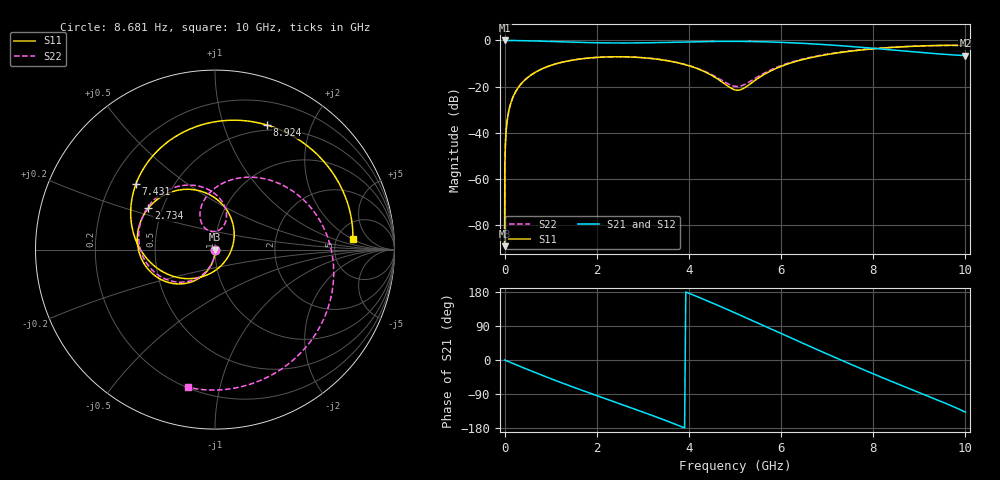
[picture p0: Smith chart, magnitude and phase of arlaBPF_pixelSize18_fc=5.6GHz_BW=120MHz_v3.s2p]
! Created Wed Aug 10 22:56:32 2022
! List of port names and net name(s): example Port n = <port_name> <net_name1> <net_name2> ...
! Port 1 = P1 P2
! Port 2 = P2 P2
# hz S ma R 50
! 2 Port Network Data from data block
! freq  magS11  angS11  magS21  angS21  magS12  angS12  magS22  angS22
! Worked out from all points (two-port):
!   462 points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, 8.681 Hz to 10 GHz, reference 50 ohm
!   highest |S21| = 0.00 dB at 8.681 Hz (marker M1); lowest = -6.6 dB at 10 GHz (marker M2)
!   |S21| within 3 dB of the highest: start of sweep to 7.758 GHz
!   lowest |S11| = -89.3 dB at 8.681 Hz (marker M3), VSWR 1.00, Z = 50 - j2.83e-07 ohm
!   |S11| at or under -10 dB: start of sweep to 1.14 GHz; 3.823 GHz to 6.175 GHz (2.352 GHz wide, 47.1 % of centre)
!   |S22| runs from -89.3 to -2.1 dB; largest |S21 - S12| = 0
!   S11 on the Smith chart (normalised r, x): 8.681 Hz: 1.00, -0.00; 2.734 GHz: 0.42, +0.24; 7.431 GHz: 0.30, +0.33; 8.924 GHz: 0.44, +1.40; 10 GHz: 7.10, +2.09
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8.680556  3.42e-05 -0.0  1 -0.0  1 -0.0  3.42e-05 -0.0
218045.7  7.886e-05 -64.3  1 -0.0  1 -0.0  7.885e-05 -64.3
1092817  0.0003578 -84.6  1 -0.1  1 -0.1  0.0003577 -84.6
2180457  0.0007114 -87.4  1 -0.1  1 -0.1  0.0007113 -87.4
6895210  0.002247 -89.5  1 -0.4  1 -0.4  0.002247 -89.5
1.379042e7  0.004494 -90.3  0.9999 -0.7  0.9999 -0.7  0.004493 -90.3
3.472222e7  0.01131 -91.6  0.9998 -1.8  0.9998 -1.8  0.01131 -91.7
1.041667e8  0.03387 -95.3  0.9988 -5.3  0.9988 -5.3  0.03386 -95.6
2.083333e8  0.0673 -100.6  0.9961 -10.6  0.9961 -10.6  0.06729 -101.3
7.262731e8  0.2197 -125.6  0.9705 -36.1  0.9705 -36.1  0.2197 -127.9
1.692708e9  0.4021 -168.5  0.9052 -80.5  0.9052 -80.5  0.402 -173.9
2.734375e9  0.4373 148.1  0.8823 -125.5  0.8823 -125.5  0.4375 139.8
3.359375e9  0.3867 120.7  0.8998 -153.4  0.8998 -153.4  0.3876 112.0
4.21875e9  0.2367 75.4  0.94 165.3  0.94 165.3  0.2405 76.4
5.026042e9  0.08346 -24.9  0.9556 123.0  0.9556 123.0  0.1005 91.4
5.78125e9  0.2198 -132.5  0.9263 81.9  0.9263 81.9  0.2311 110.9
6.666667e9  0.4272 177.2  0.8452 33.7  0.8452 33.7  0.4386 66.8
7.430556e9  0.5721 140.3  0.7512 -7.0  0.7512 -7.0  0.5842 23.2
8.368056e9  0.7011 95.2  0.628 -55.1  0.628 -55.1  0.7084 -27.2
8.923611e9  0.7518 67.5  0.5614 -82.5  0.5614 -82.5  0.7531 -54.3
9.444444e9  0.7798 39.9  0.5085 -108.0  0.5085 -108.0  0.7769 -77.8
1e10  0.7707 4.4  0.4692 -137.6  0.4692 -137.6  0.7813 -101.2
